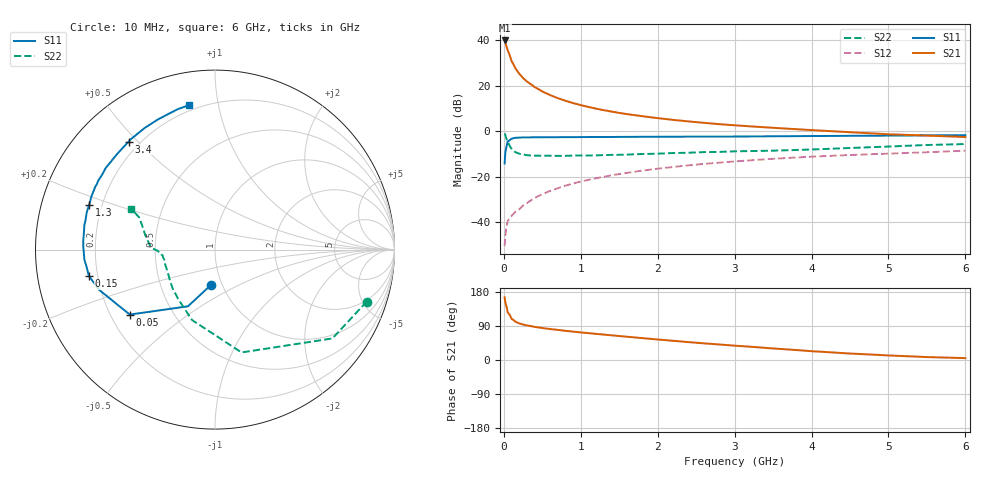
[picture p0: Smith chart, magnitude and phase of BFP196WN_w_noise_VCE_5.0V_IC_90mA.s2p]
! Infineon Technologies  Discrete & RF Semiconductors
! BFP196WN
! VCE =  5.0 V,  IC =  90 mA
! Common Emitter S-Parameters:  Jan 2017
# GHz  S  MA  R  50
!  f  S11  S21  S12  S22
! GHz  MAG  ANG  MAG  ANG  MAG  ANG  MAG  ANG
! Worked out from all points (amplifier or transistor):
!   77 points, 10 MHz to 6 GHz, reference 50 ohm
!   highest |S21| = 39.8 dB at 10 MHz (marker M1)
!   |S21| within 3 dB of that: start of sweep to 37.89 MHz
!   unconditionally stable (mu >= 1): 489.5 MHz to 2.543 GHz
!   at 130 MHz: K = 0.68, MSG = 32.5 dB, |S12| = -36.0 dB
!   at 2.2 GHz: K = 1.02, MAG = 9.5 dB, |S12| = -15.7 dB
!   at 6 GHz: K = 0.92, MSG = 3.0 dB, |S12| = -8.6 dB
!   lowest NFmin = 1.69 dB at 450 MHz
!   S11 on the Smith chart (normalised r, x): 10 MHz: 0.89, -0.36; 50 MHz: 0.28, -0.31; 150 MHz: 0.17, -0.10; 1.3 GHz: 0.15, +0.17; 3.4 GHz: 0.16, +0.47; 6 GHz: 0.17, +0.82
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0.01  0.1959 -95.9  97.8 165.3  0.003 77.2  0.8936 -18.9
0.02  0.3501 -115.5  87.52 151.2  0.0052 71.4  0.8205 -37.1
0.05  0.5972 -142.7  59.81 125.4  0.0106 52.6  0.5919 -75.5
0.1  0.6832 -160.8  34.59 108.6  0.0138 53.8  0.4129 -108.0
0.15  0.7176 -168.1  24.04 101.1  0.0171 55.3  0.3455 -125.8
0.2  0.722 -172.5  18.22 96.7  0.0192 61.2  0.321 -137.1
0.25  0.7298 -175.5  14.69 93.5  0.0234 63.2  0.3071 -144.1
0.3  0.7307 -177.9  12.29 91.2  0.0264 65.7  0.297 -150.1
0.4  0.734 178.7  9.285 87.3  0.0341 68.3  0.2904 -156.7
0.5  0.7357 175.9  7.434 84.4  0.0412 70.6  0.2899 -161.5
0.6  0.736 173.4  6.209 81.7  0.0489 70.4  0.2896 -165.0
0.7  0.7376 171.4  5.316 79.5  0.0558 72.2  0.2871 -167.3
0.9  0.7397 167.2  4.133 74.9  0.0709 71.6  0.2911 -170.4
1.1  0.7442 163.8  3.396 70.9  0.0856 71.1  0.2932 -173.1
1.3  0.744 160.4  2.886 67.1  0.0998 70.0  0.2986 -174.4
1.6  0.7501 155.7  2.369 61.4  0.1218 68.1  0.3058 -176.7
2.1  0.7549 147.9  1.851 52.5  0.1571 64.2  0.3263 -179.4
3.1  0.7642 133.0  1.311 36.5  0.2228 55.5  0.3637 176.2
3.4  0.7704 128.6  1.216 32.0  0.2416 52.9  0.371 174.2
4.1  0.7837 118.9  1.034 22.1  0.2805 46.6  0.4023 166.9
5.1  0.8007 108.2  0.845 11.2  0.3262 38.8  0.4676 156.5
6  0.8171 100.3  0.744 4.9  0.3729 32.8  0.5222 154.3
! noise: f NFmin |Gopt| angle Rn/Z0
0.45  1.69  0.59  -175  0.05
0.9  1.82  0.6  -168  0.07
1.9  2.82  0.71  -146  0.23
2.4  3.6  0.72  -138  0.39
